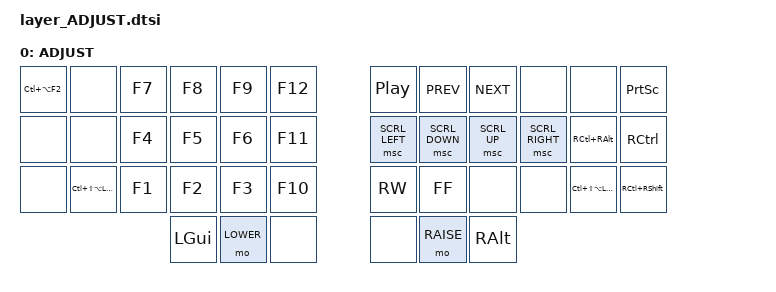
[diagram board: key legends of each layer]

/ {
    keymap {
        compatible = "zmk,keymap";

        adjust {
            // -----------------------------------------------------------------------------------------
            // |      |  {  |  &  |  *  |  (  |  }  |           |     |     |     |     |     |      |
            // |      |  +  |  $  |  %  |  ^  |  +  |           |     | SFT | CTR | ALT | GUI |      |
            // |      |  ~  |  !  |  @  |  #  |  |  |           |     |     |     |     |     |      |
            //                    |  (  |  )  |  _  |           |     |     |     |

            display-name = "ADJUST";
            bindings = <
&kp LC(LA(F2))  &none                 &kp F7  &kp F8    &kp F9     &kp F12    &kp C_PP        &kp C_PREV      &kp C_NEXT    &none            &none                 &kp PRINTSCREEN
&none           &none                 &kp F4  &kp F5    &kp F6     &kp F11    &msc SCRL_LEFT  &msc SCRL_DOWN  &msc SCRL_UP  &msc SCRL_RIGHT  &kp RC(RALT)          &kp RCTRL
&none           &kp LC(LS(LA(LGUI)))  &kp F1  &kp F2    &kp F3     &kp F10    &kp C_RW        &kp C_FF        &none         &none            &kp LC(LS(LA(LGUI)))  &kp RC(RSHFT)
                                              &kp LGUI  &mo LOWER  &none      &none           &mo RAISE       &kp RALT
            >;
        };
    };
};
